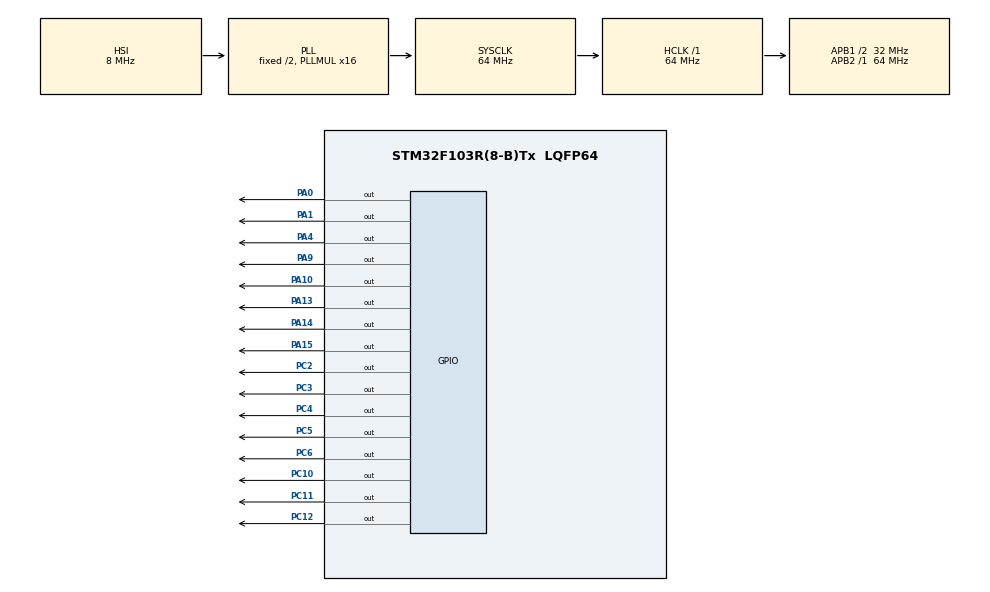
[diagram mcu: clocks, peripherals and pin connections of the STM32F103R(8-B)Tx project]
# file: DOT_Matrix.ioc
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Mcu.Family=STM32F1
Mcu.Name=STM32F103R(8-B)Tx
Mcu.Package=LQFP64
NVIC.PriorityGroup=NVIC_PRIORITYGROUP_4
PA0-WKUP.Signal=GPIO_Output
PA1.Signal=GPIO_Output
PA10.Signal=GPIO_Output
PA13.Signal=GPIO_Output
PA14.Signal=GPIO_Output
PA15.Signal=GPIO_Output
PA4.Signal=GPIO_Output
PA9.Signal=GPIO_Output
PC10.Signal=GPIO_Output
PC11.Signal=GPIO_Output
PC12.Signal=GPIO_Output
PC2.Signal=GPIO_Output
PC3.Signal=GPIO_Output
PC4.Signal=GPIO_Output
PC5.Signal=GPIO_Output
PC6.Signal=GPIO_Output
ProjectManager.HeapSize=0x200
ProjectManager.StackSize=0x400
ProjectManager.TargetToolchain=STM32CubeIDE
RCC.AHBFreq_Value=64000000
RCC.APB1CLKDivider=RCC_HCLK_DIV2
RCC.APB1Freq_Value=32000000
RCC.APB1TimFreq_Value=64000000
RCC.APB2Freq_Value=64000000
RCC.APB2TimFreq_Value=64000000
RCC.HCLKFreq_Value=64000000
RCC.PLLMUL=RCC_PLL_MUL16
RCC.RTCClockSelection=RCC_RTCCLKSOURCE_LSE
RCC.SYSCLKFreq_VALUE=64000000
RCC.SYSCLKSource=RCC_SYSCLKSOURCE_PLLCLK
RCC.USBFreq_Value=64000000
TIM1.Period=0xffff-1
TIM1.Prescaler=1-1
VP_SYS_VS_ND.Mode=No_Debug
VP_TIM1_VS_ClockSourceINT.Mode=Internal
board=NUCLEO-F103RB

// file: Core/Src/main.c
/* USER CODE BEGIN Header */
/**
  ******************************************************************************
  * @file           : main.c
  * @brief          : Main program body
  ******************************************************************************
  * @attention
  *
  * Copyright (c) 2022 STMicroelectronics.
  * All rights reserved.
  *
  * This software is licensed under terms that can be found in the LICENSE file
  * in the root directory of this software component.
  * If no LICENSE file comes with this software, it is provided AS-IS.
  *
  ******************************************************************************
  */
/* USER CODE END Header */
#include "main.h"

TIM_HandleTypeDef htim1;

void SystemClock_Config(void);
static void MX_GPIO_Init(void);
static void MX_TIM1_Init(void);
void delay_us (uint16_t us)
{
	__HAL_TIM_SET_COUNTER(&htim1,0);  // set the counter value a 0
	while (__HAL_TIM_GET_COUNTER(&htim1) < us);  // wait for the counter to reach the us input in the parameter
}

int main(void)
{
	int Rows[8]={0x0001, 0x0002, 0x0010, 0x0200, 0x0400, 0x2000, 0x4000, 0x8000};
	int Columns[8]={0x0004, 0x0008, 0x0010, 0x0020, 0x0040, 0x0400, 0x0800, 0x1000};

  /* MCU Configuration--------------------------------------------------------*/

  /* Reset of all peripherals, Initializes the Flash interface and the Systick. */
  HAL_Init();

  /* Configure the system clock */
  SystemClock_Config();

  /* Initialize all configured peripherals */
  MX_GPIO_Init();
  MX_TIM1_Init();

  /* Infinite loop */
  /* USER CODE BEGIN WHILE */
  HAL_TIM_Base_Start(&htim1);

  while (1)
  {
	  int i,j;
	  int s=0;
	  int s1=7;
	  for(i=0; i<8; i++){
		  HAL_GPIO_WritePin(GPIOA, Rows[i], 1);
		  HAL_GPIO_WritePin(GPIOC, Columns[i], 0);
		  delay_us(10000);

	  }
	  while(s<5){
		  HAL_Delay(1000);
		  for(j=0; j<s; j++){
			  HAL_GPIO_WritePin(GPIOA, Rows[s-1], 0);
			  HAL_GPIO_WritePin(GPIOA, Rows[s1+1], 0);
			  HAL_GPIO_WritePin(GPIOC, Columns[s-1], 1);
			  HAL_GPIO_WritePin(GPIOC, Columns[s1+1], 1);
		  }
		  HAL_Delay(1000);
		  s++;
		  s1--;
	  }
    /* USER CODE END WHILE */

  }
}

void SystemClock_Config(void)
{
  RCC_OscInitTypeDef RCC_OscInitStruct = {0};
  RCC_ClkInitTypeDef RCC_ClkInitStruct = {0};

  /** Initializes the RCC Oscillators according to the specified parameters
  * in the RCC_OscInitTypeDef structure.
  */
  RCC_OscInitStruct.OscillatorType = RCC_OSCILLATORTYPE_HSI;
  RCC_OscInitStruct.HSIState = RCC_HSI_ON;
  RCC_OscInitStruct.HSICalibrationValue = RCC_HSICALIBRATION_DEFAULT;
  RCC_OscInitStruct.PLL.PLLState = RCC_PLL_ON;
  RCC_OscInitStruct.PLL.PLLSource = RCC_PLLSOURCE_HSI_DIV2;
  RCC_OscInitStruct.PLL.PLLMUL = RCC_PLL_MUL16;
  if (HAL_RCC_OscConfig(&RCC_OscInitStruct) != HAL_OK)
  {
    Error_Handler();
  }
  /** Initializes the CPU, AHB and APB buses clocks
  */
  RCC_ClkInitStruct.ClockType = RCC_CLOCKTYPE_HCLK|RCC_CLOCKTYPE_SYSCLK
                              |RCC_CLOCKTYPE_PCLK1|RCC_CLOCKTYPE_PCLK2;
  RCC_ClkInitStruct.SYSCLKSource = RCC_SYSCLKSOURCE_PLLCLK;
  RCC_ClkInitStruct.AHBCLKDivider = RCC_SYSCLK_DIV1;
  RCC_ClkInitStruct.APB1CLKDivider = RCC_HCLK_DIV2;
  RCC_ClkInitStruct.APB2CLKDivider = RCC_HCLK_DIV1;

  if (HAL_RCC_ClockConfig(&RCC_ClkInitStruct, FLASH_LATENCY_2) != HAL_OK)
  {
    Error_Handler();
  }
}

static void MX_TIM1_Init(void)
{

  TIM_ClockConfigTypeDef sClockSourceConfig = {0};
  TIM_MasterConfigTypeDef sMasterConfig = {0};

  htim1.Instance = TIM1;
  htim1.Init.Prescaler = 1-1;
  htim1.Init.CounterMode = TIM_COUNTERMODE_UP;
  htim1.Init.Period = 0xffff-1;
  htim1.Init.ClockDivision = TIM_CLOCKDIVISION_DIV1;
  htim1.Init.RepetitionCounter = 0;
  htim1.Init.AutoReloadPreload = TIM_AUTORELOAD_PRELOAD_DISABLE;
  if (HAL_TIM_Base_Init(&htim1) != HAL_OK)
  {
    Error_Handler();
  }
  sClockSourceConfig.ClockSource = TIM_CLOCKSOURCE_INTERNAL;
  if (HAL_TIM_ConfigClockSource(&htim1, &sClockSourceConfig) != HAL_OK)
  {
    Error_Handler();
  }
  sMasterConfig.MasterOutputTrigger = TIM_TRGO_RESET;
  sMasterConfig.MasterSlaveMode = TIM_MASTERSLAVEMODE_DISABLE;
  if (HAL_TIMEx_MasterConfigSynchronization(&htim1, &sMasterConfig) != HAL_OK)
  {
    Error_Handler();
  }

}

static void MX_GPIO_Init(void)
{
  GPIO_InitTypeDef GPIO_InitStruct = {0};

  /* GPIO Ports Clock Enable */
  __HAL_RCC_GPIOC_CLK_ENABLE();
  __HAL_RCC_GPIOA_CLK_ENABLE();

  /*Configure GPIO pin Output Level */
  HAL_GPIO_WritePin(GPIOC, GPIO_PIN_2|GPIO_PIN_3|GPIO_PIN_4|GPIO_PIN_5
                          |GPIO_PIN_6|GPIO_PIN_10|GPIO_PIN_11|GPIO_PIN_12, GPIO_PIN_RESET);

  /*Configure GPIO pin Output Level */
  HAL_GPIO_WritePin(GPIOA, GPIO_PIN_0|GPIO_PIN_1|GPIO_PIN_4|GPIO_PIN_9
                          |GPIO_PIN_10|GPIO_PIN_13|GPIO_PIN_14|GPIO_PIN_15, GPIO_PIN_RESET);

  /*Configure GPIO pins : PC2 PC3 PC4 PC5
                           PC6 PC10 PC11 PC12 */
  GPIO_InitStruct.Pin = GPIO_PIN_2|GPIO_PIN_3|GPIO_PIN_4|GPIO_PIN_5
                          |GPIO_PIN_6|GPIO_PIN_10|GPIO_PIN_11|GPIO_PIN_12;
  GPIO_InitStruct.Mode = GPIO_MODE_OUTPUT_PP;
  GPIO_InitStruct.Pull = GPIO_NOPULL;
  GPIO_InitStruct.Speed = GPIO_SPEED_FREQ_LOW;
  HAL_GPIO_Init(GPIOC, &GPIO_InitStruct);

  /*Configure GPIO pins : PA0 PA1 PA4 PA9
                           PA10 PA13 PA14 PA15 */
  GPIO_InitStruct.Pin = GPIO_PIN_0|GPIO_PIN_1|GPIO_PIN_4|GPIO_PIN_9
                          |GPIO_PIN_10|GPIO_PIN_13|GPIO_PIN_14|GPIO_PIN_15;
  GPIO_InitStruct.Mode = GPIO_MODE_OUTPUT_PP;
  GPIO_InitStruct.Pull = GPIO_NOPULL;
  GPIO_InitStruct.Speed = GPIO_SPEED_FREQ_LOW;
  HAL_GPIO_Init(GPIOA, &GPIO_InitStruct);

}

void Error_Handler(void)
{
  __disable_irq();
  while (1)
  {
  }
}
